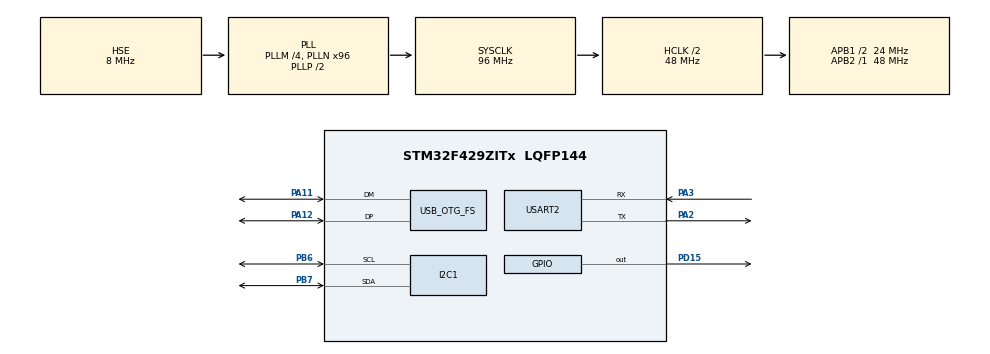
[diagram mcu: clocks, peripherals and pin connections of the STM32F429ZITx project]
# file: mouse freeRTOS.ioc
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FREERTOS.Tasks01=defaultTask,0,128,StartDefaultTask,Default,NULL,Dynamic,NULL,NULL;read_mpu6050,1,128,read_mpu,Default,NULL,Dynamic,NULL,NULL;USB_HID_mouse,1,128,mouse,Default,NULL,Dynamic,NULL,NULL
Mcu.Family=STM32F4
Mcu.Name=STM32F429ZITx
Mcu.Package=LQFP144
NVIC.OTG_FS_IRQn=true\:5\:0\:false\:false\:true\:true\:false
NVIC.PriorityGroup=NVIC_PRIORITYGROUP_4
NVIC.RCC_IRQn=true\:5\:0\:false\:false\:true\:true\:true
NVIC.TIM1_UP_TIM10_IRQn=true\:0\:0\:false\:false\:true\:false\:false
NVIC.TimeBase=TIM1_UP_TIM10_IRQn
NVIC.TimeBaseIP=TIM1
NVIC.USART2_IRQn=true\:5\:0\:false\:false\:true\:true\:true
PA11.Mode=Device_Only
PA11.Signal=USB_OTG_FS_DM
PA12.Mode=Device_Only
PA12.Signal=USB_OTG_FS_DP
PA13.Mode=Serial_Wire
PA13.Signal=SYS_JTMS-SWDIO
PA14.Mode=Serial_Wire
PA14.Signal=SYS_JTCK-SWCLK
PA2.Mode=Asynchronous
PA2.Signal=USART2_TX
PA3.Mode=Asynchronous
PA3.Signal=USART2_RX
PB6.Mode=I2C
PB6.Signal=I2C1_SCL
PB7.Mode=I2C
PB7.Signal=I2C1_SDA
PD15.Signal=GPIO_Output
PH0/OSC_IN.Mode=HSE-External-Oscillator
PH0/OSC_IN.Signal=RCC_OSC_IN
PH1/OSC_OUT.Mode=HSE-External-Oscillator
PH1/OSC_OUT.Signal=RCC_OSC_OUT
ProjectManager.HeapSize=0x200
ProjectManager.StackSize=0x400
ProjectManager.TargetToolchain=MDK-ARM V5
RCC.48MHZClocksFreq_Value=48000000
RCC.AHBCLKDivider=RCC_SYSCLK_DIV2
RCC.AHBFreq_Value=48000000
RCC.APB1CLKDivider=RCC_HCLK_DIV2
RCC.APB1Freq_Value=24000000
RCC.APB1TimFreq_Value=48000000
RCC.APB2Freq_Value=48000000
RCC.APB2TimFreq_Value=48000000
RCC.CortexFreq_Value=48000000
RCC.HCLKFreq_Value=48000000
RCC.HSE_VALUE=8000000
RCC.HSI_VALUE=16000000
RCC.LSE_VALUE=32768
RCC.PLLM=4
RCC.PLLN=96
RCC.SYSCLKFreq_VALUE=96000000
RCC.SYSCLKSource=RCC_SYSCLKSOURCE_PLLCLK
RCC.VCOOutputFreq_Value=192000000
USART2.VirtualMode=VM_ASYNC
USB_DEVICE.CLASS_NAME_FS=HID
USB_DEVICE.VirtualMode-HID_FS=Hid
USB_DEVICE.VirtualModeFS=Hid_FS
USB_OTG_FS.VirtualMode=Device_Only
VP_FREERTOS_VS_ENABLE.Mode=Enabled
VP_SYS_VS_tim1.Mode=TIM1
VP_USB_DEVICE_VS_USB_DEVICE_HID_FS.Mode=HID_FS
board=STM32F429I-DISCO

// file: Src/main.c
/**
  ******************************************************************************
  * File Name          : main.c
  * Description        : Main program body
  ******************************************************************************
  * This notice applies to any and all portions of this file
  * that are not between comment pairs USER CODE BEGIN and
  * USER CODE END. Other portions of this file, whether
  * inserted by the user or by software development tools
  * are owned by their respective copyright owners.
  *
  * Copyright (c) 2017 STMicroelectronics International N.V.
  * All rights reserved.
  *
  * Redistribution and use in source and binary forms, with or without
  * modification, are permitted, provided that the following conditions are met:
  *
  * 1. Redistribution of source code must retain the above copyright notice,
  *    this list of conditions and the following disclaimer.
  * 2. Redistributions in binary form must reproduce the above copyright notice,
  *    this list of conditions and the following disclaimer in the documentation
  *    and/or other materials provided with the distribution.
  * 3. Neither the name of STMicroelectronics nor the names of other
  *    contributors to this software may be used to endorse or promote products
  *    derived from this software without specific written permission.
  * 4. This software, including modifications and/or derivative works of this
  *    software, must execute solely and exclusively on microcontroller or
  *    microprocessor devices manufactured by or for STMicroelectronics.
  * 5. Redistribution and use of this software other than as permitted under
  *    this license is void and will automatically terminate your rights under
  *    this license.
  *
  * THIS SOFTWARE IS PROVIDED BY STMICROELECTRONICS AND CONTRIBUTORS "AS IS"
  * AND ANY EXPRESS, IMPLIED OR STATUTORY WARRANTIES, INCLUDING, BUT NOT
  * LIMITED TO, THE IMPLIED WARRANTIES OF MERCHANTABILITY, FITNESS FOR A
  * PARTICULAR PURPOSE AND NON-INFRINGEMENT OF THIRD PARTY INTELLECTUAL PROPERTY
  * RIGHTS ARE DISCLAIMED TO THE FULLEST EXTENT PERMITTED BY LAW. IN NO EVENT
  * SHALL STMICROELECTRONICS OR CONTRIBUTORS BE LIABLE FOR ANY DIRECT, INDIRECT,
  * INCIDENTAL, SPECIAL, EXEMPLARY, OR CONSEQUENTIAL DAMAGES (INCLUDING, BUT NOT
  * LIMITED TO, PROCUREMENT OF SUBSTITUTE GOODS OR SERVICES; LOSS OF USE, DATA,
  * OR PROFITS; OR BUSINESS INTERRUPTION) HOWEVER CAUSED AND ON ANY THEORY OF
  * LIABILITY, WHETHER IN CONTRACT, STRICT LIABILITY, OR TORT (INCLUDING
  * NEGLIGENCE OR OTHERWISE) ARISING IN ANY WAY OUT OF THE USE OF THIS SOFTWARE,
  * EVEN IF ADVISED OF THE POSSIBILITY OF SUCH DAMAGE.
  *
  ******************************************************************************
  */

#include <main.h>
#include "stm32f4xx_hal.h"
#include "cmsis_os.h"
#include "usb_device.h"

/* USER CODE BEGIN Includes */
#include <math.h>
#include <usbd_hid.h>
extern USBD_HandleTypeDef hUsbDeviceFS;

/* USER CODE END Includes */

I2C_HandleTypeDef hi2c1;

UART_HandleTypeDef huart2;

osThreadId defaultTaskHandle;
osThreadId read_mpu6050Handle;
osThreadId USB_HID_mouseHandle;

/* USER CODE BEGIN PV */
/* Private variables ---------------------------------------------------------*/
int gyro_x, gyro_y, gyro_z;
int16_t acc_x, acc_y, acc_z, acc_total_vector;
long acc_x_cal, acc_y_cal, acc_z_cal;
int16_t acc_x_output = 0, acc_y_output = 0, acc_z_output = 0, gyro_x_output = 0, gyro_y_output = 0, gyro_z_output = 0;
int temperature;
int gyro_x_cal, gyro_y_cal, gyro_z_cal;

int cal_int = 0;

uint8_t button[4];   		                                   	// for usb hid mouse //

xQueueHandle queue_handle = NULL;

void set_MPU6050_registers(void);
/* USER CODE END PV */

void SystemClock_Config(void);
static void MX_GPIO_Init(void);
static void MX_I2C1_Init(void);
static void MX_USART2_UART_Init(void);
void StartDefaultTask(void const * argument);
void read_mpu(void const * argument);
void mouse(void const * argument);

/* USER CODE BEGIN PFP */
/* Private function prototypes -----------------------------------------------*/

/* USER CODE END PFP */

int main(void)
{

  /* MCU Configuration----------------------------------------------------------*/

  /* Reset of all peripherals, Initializes the Flash interface and the Systick. */
  HAL_Init();

  /* Configure the system clock */
  SystemClock_Config();

  /* Initialize all configured peripherals */
  MX_GPIO_Init();
  MX_I2C1_Init();
  MX_USART2_UART_Init();

  /* USER CODE BEGIN 2 */
  //mouse parameters initialization//
  button[0] = 0;				// mouse button //
	button[1] = 0;				// mouse x 	//
	button[2] = 0;				// mouse y //
  button[3] = 0;				// mouse wheel //

  set_MPU6050_registers();

  /* USER CODE END 2 */

	/********QUEUE********/
	queue_handle = xQueueCreate(2, sizeof(int16_t));                     // create a queue //
  /* Create the thread(s) */
  /* definition and creation of defaultTask */
  osThreadDef(defaultTask, StartDefaultTask, osPriorityNormal, 0, 128);
  defaultTaskHandle = osThreadCreate(osThread(defaultTask), NULL);

  /* definition and creation of read_mpu6050 */
  osThreadDef(read_mpu6050, read_mpu, osPriorityNormal, 0, 1024);
  read_mpu6050Handle = osThreadCreate(osThread(read_mpu6050), NULL);

  /* definition and creation of USB_HID_mouse */
  osThreadDef(USB_HID_mouse, mouse, osPriorityAboveNormal, 0, 1024);
  USB_HID_mouseHandle = osThreadCreate(osThread(USB_HID_mouse), NULL);

  /* Start scheduler */
  osKernelStart();

  /* We should never get here as control is now taken by the scheduler */

  /* Infinite loop */
  while (1)
  {

  }

}

/** System Clock Configuration
*/
void SystemClock_Config(void)
{

  RCC_OscInitTypeDef RCC_OscInitStruct;
  RCC_ClkInitTypeDef RCC_ClkInitStruct;

    /**Configure the main internal regulator output voltage
    */
  __HAL_RCC_PWR_CLK_ENABLE();

  __HAL_PWR_VOLTAGESCALING_CONFIG(PWR_REGULATOR_VOLTAGE_SCALE3);

    /**Initializes the CPU, AHB and APB busses clocks
    */
  RCC_OscInitStruct.OscillatorType = RCC_OSCILLATORTYPE_HSE;
  RCC_OscInitStruct.HSEState = RCC_HSE_ON;
  RCC_OscInitStruct.PLL.PLLState = RCC_PLL_ON;
  RCC_OscInitStruct.PLL.PLLSource = RCC_PLLSOURCE_HSE;
  RCC_OscInitStruct.PLL.PLLM = 4;
  RCC_OscInitStruct.PLL.PLLN = 96;
  RCC_OscInitStruct.PLL.PLLP = RCC_PLLP_DIV2;
  RCC_OscInitStruct.PLL.PLLQ = 4;
  if (HAL_RCC_OscConfig(&RCC_OscInitStruct) != HAL_OK)
  {
    _Error_Handler(__FILE__, __LINE__);
  }

    /**Initializes the CPU, AHB and APB busses clocks
    */
  RCC_ClkInitStruct.ClockType = RCC_CLOCKTYPE_HCLK|RCC_CLOCKTYPE_SYSCLK
                              |RCC_CLOCKTYPE_PCLK1|RCC_CLOCKTYPE_PCLK2;
  RCC_ClkInitStruct.SYSCLKSource = RCC_SYSCLKSOURCE_PLLCLK;
  RCC_ClkInitStruct.AHBCLKDivider = RCC_SYSCLK_DIV2;
  RCC_ClkInitStruct.APB1CLKDivider = RCC_HCLK_DIV2;
  RCC_ClkInitStruct.APB2CLKDivider = RCC_HCLK_DIV1;

  if (HAL_RCC_ClockConfig(&RCC_ClkInitStruct, FLASH_LATENCY_1) != HAL_OK)
  {
    _Error_Handler(__FILE__, __LINE__);
  }

    /**Configure the Systick interrupt time
    */
  HAL_SYSTICK_Config(HAL_RCC_GetHCLKFreq()/1000);

    /**Configure the Systick
    */
  HAL_SYSTICK_CLKSourceConfig(SYSTICK_CLKSOURCE_HCLK);

  /* SysTick_IRQn interrupt configuration */
  HAL_NVIC_SetPriority(SysTick_IRQn, 15, 0);
}

/* I2C1 init function */
static void MX_I2C1_Init(void)
{

  hi2c1.Instance = I2C1;
  hi2c1.Init.ClockSpeed = 400000;
  hi2c1.Init.DutyCycle = I2C_DUTYCYCLE_2;
  hi2c1.Init.OwnAddress1 = 0;
  hi2c1.Init.AddressingMode = I2C_ADDRESSINGMODE_7BIT;
  hi2c1.Init.DualAddressMode = I2C_DUALADDRESS_DISABLE;
  hi2c1.Init.OwnAddress2 = 0;
  hi2c1.Init.GeneralCallMode = I2C_GENERALCALL_DISABLE;
  hi2c1.Init.NoStretchMode = I2C_NOSTRETCH_DISABLE;
  if (HAL_I2C_Init(&hi2c1) != HAL_OK)
  {
    _Error_Handler(__FILE__, __LINE__);
  }

}

/* USART2 init function */
static void MX_USART2_UART_Init(void)
{

  huart2.Instance = USART2;
  huart2.Init.BaudRate = 9600;
  huart2.Init.WordLength = UART_WORDLENGTH_8B;
  huart2.Init.StopBits = UART_STOPBITS_1;
  huart2.Init.Parity = UART_PARITY_NONE;
  huart2.Init.Mode = UART_MODE_TX_RX;
  huart2.Init.HwFlowCtl = UART_HWCONTROL_NONE;
  huart2.Init.OverSampling = UART_OVERSAMPLING_16;
  if (HAL_UART_Init(&huart2) != HAL_OK)
  {
    _Error_Handler(__FILE__, __LINE__);
  }

}

/** Configure pins as
        * Analog
        * Input
        * Output
        * EVENT_OUT
        * EXTI
*/
static void MX_GPIO_Init(void)
{

  GPIO_InitTypeDef GPIO_InitStruct;

  /* GPIO Ports Clock Enable */
  __HAL_RCC_GPIOH_CLK_ENABLE();
  __HAL_RCC_GPIOA_CLK_ENABLE();
  __HAL_RCC_GPIOD_CLK_ENABLE();
  __HAL_RCC_GPIOB_CLK_ENABLE();

  /*Configure GPIO pin Output Level */
  HAL_GPIO_WritePin(GPIOD, GPIO_PIN_15, GPIO_PIN_RESET);

  /*Configure GPIO pin : PD15 */
  GPIO_InitStruct.Pin = GPIO_PIN_15;
  GPIO_InitStruct.Mode = GPIO_MODE_OUTPUT_PP;
  GPIO_InitStruct.Pull = GPIO_NOPULL;
  GPIO_InitStruct.Speed = GPIO_SPEED_FREQ_LOW;
  HAL_GPIO_Init(GPIOD, &GPIO_InitStruct);

}

/* USER CODE BEGIN 4 */
void set_MPU6050_registers()
{
	unsigned char tempBuffer1[2];
	unsigned char tempBuffer2[2];
	unsigned char tempBuffer3[2];
	tempBuffer1[0]=0x6B;	//Activate the MPU-6050
	tempBuffer1[1]=0x00;

	tempBuffer2[0]=0x1C;	//Configure the accelerometer (+/-8g)
	tempBuffer2[1]=0x10;

	tempBuffer3[0]=0x1B;	//Configure the gyro (500dps full scale)
	tempBuffer3[1]=0x08;

	HAL_I2C_Master_Transmit(&hi2c1,0x68<<1, tempBuffer1, 2, 100);
  HAL_Delay(20);
	HAL_I2C_Master_Transmit(&hi2c1,0x68<<1, tempBuffer2, 2, 100);
	HAL_Delay(20);
	HAL_I2C_Master_Transmit(&hi2c1,0x68<<1, tempBuffer3, 2, 100);
	HAL_Delay(20);
}

/* USER CODE END 4 */

/* StartDefaultTask function */
void StartDefaultTask(void const * argument)
{
  /* init code for USB_DEVICE */
  MX_USB_DEVICE_Init();

  for(;;)
  {
    osDelay(1);
  }
}

/* read_mpu function */
void read_mpu(void const * argument)
{
  /* USER CODE BEGIN read_mpu */

	/* Infinite loop */
  for(;;)
  {
	 uint8_t tempBuffer[14];

	 tempBuffer[0] = 0x3B;
	 HAL_I2C_Master_Transmit(&hi2c1,0x68<<1, tempBuffer, 1, 100);				 //Request the data

   HAL_I2C_Master_Receive(&hi2c1,0x68<<1, tempBuffer, 14, 100);				 //Request 14 bytes from the MPU-6050
	 while( HAL_I2C_GetState(&hi2c1) == HAL_I2C_STATE_BUSY_RX);          //Wait until all the bytes are received

   acc_x = tempBuffer[0]<<8|tempBuffer[1];                             //Add the low and high byte to the acc_x variable
   acc_y = tempBuffer[2]<<8|tempBuffer[3];                             //Add the low and high byte to the acc_y variable
   acc_z = tempBuffer[4]<<8|tempBuffer[5];                             //Add the low and high byte to the acc_z variable
   temperature = tempBuffer[6]<<8|tempBuffer[7];                       //Add the low and high byte to the temperature variable
   gyro_x = tempBuffer[8]<<8|tempBuffer[9];                            //Add the low and high byte to the gyro_x variable
   gyro_y = tempBuffer[10]<<8|tempBuffer[11];                          //Add the low and high byte to the gyro_y variable
   gyro_z = tempBuffer[12]<<8|tempBuffer[13];                          //Add the low and high byte to the gyro_z variable

	 while(cal_int != 500){                                              //Run this code 500 times
    gyro_x_cal += gyro_x;                                              //Add the gyro x-axis offset to the gyro_x_cal variable
    gyro_y_cal += gyro_y;                                              //Add the gyro y-axis offset to the gyro_y_cal variable
    gyro_z_cal += gyro_z;                                              //Add the gyro z-axis offset to the gyro_z_cal variable
    acc_x_cal += acc_x;                                                //Add the acc x-axis offset to the acc_x_cal variable
 		acc_y_cal += acc_y;                                                //Add the acc y-axis offset to the acc_y_cal variable
		acc_z_cal += acc_z;                                                //Add the acc z-axis offset to the acc_z_cal variable

		HAL_Delay(10);                                                     //Delay 10us to simulate the 250Hz program loop
    cal_int++;
	 }
	 if(cal_int == 500)
	 {
   gyro_x_cal /= 500;                                                  //Divide the gyro_x_cal variable by 2000 to get the avarage offset
   gyro_y_cal /= 500;                                                  //Divide the gyro_y_cal variable by 2000 to get the avarage offset
   gyro_z_cal /= 500;                                                  //Divide the gyro_z_cal variable by 2000 to get the avarage offset
	 acc_x_cal /= 500;
	 acc_y_cal /= 500;
	 acc_z_cal /= 500;
	 }

	gyro_x -= gyro_x_cal;                                                //Subtract the offset calibration value from the raw gyro_x value
  gyro_y -= gyro_y_cal;                                                //Subtract the offset calibration value from the raw gyro_y value
  gyro_z -= gyro_z_cal;                                                //Subtract the offset calibration value from the raw gyro_z value

	acc_x -= acc_x_cal;
	acc_y -= acc_y_cal;
	acc_z -= acc_z_cal;

	acc_x_output = 0.3 * acc_x + 0.7 * acc_x_output;
	acc_y_output = 0.3 * acc_y + 0.7 * acc_y_output;
	acc_z_output = 0.3 * acc_z + 0.7 * acc_z_output;

	gyro_x_output = 0.3 * gyro_x + 0.7 * gyro_x_output;
	gyro_y_output = 0.3 * gyro_y + 0.7 * gyro_y_output;
	gyro_z_output = 0.3 * gyro_z + 0.7 * gyro_z_output;

	xQueueSend(queue_handle, &gyro_y_output, 10);
	xQueueSend(queue_handle, &gyro_z_output, 10);

	vTaskDelay(10);

  }
  /* USER CODE END read_mpu */
}

/* mouse function */
void mouse(void const * argument)
{
  /* USER CODE BEGIN mouse */
  /* Infinite loop */
  for(;;)
  {
		xQueueReceive(queue_handle, &gyro_y_output, 10);
		xQueueReceive(queue_handle, &gyro_z_output, 10);
	//usb mouse//
	//left//
	if(acc_y_output > 250 )
	{
   button[0] = 0;				// mouse button //
 	 button[1] = -10;			// mouse x 	//
   button[2] = 0;				// mouse y //
   button[3] = 0;				// mouse wheel //

		USBD_HID_SendReport(&hUsbDeviceFS, button, 4);
		vTaskDelay(10);
	}

	//right//
	else if(acc_y_output < -200)
	{
   button[0] = 0;				// mouse button //
 	 button[1] = 10;			// mouse x 	//
   button[2] = 0;				// mouse y //
   button[3] = 0;				// mouse wheel //

		USBD_HID_SendReport(&hUsbDeviceFS, button, 4);
		vTaskDelay(10);
	}

	//up//
	else if(acc_z_output > 400)
	{
	 HAL_Delay(20);
   button[0] = 0;				// mouse button //
 	 button[1] = 0;				// mouse x 	//
   button[2] = -10;			// mouse y //
   button[3] = 0;				// mouse wheel //

	 USBD_HID_SendReport(&hUsbDeviceFS, button, 4);
	 vTaskDelay(10);
	}

		//down//
	else if(acc_z_output < -400 )
	{
   button[0] = 0;				// mouse button //
 	 button[1] = 0;				// mouse x 	//
   button[2] = 10;			// mouse y //
   button[3] = 0;				// mouse wheel //

		USBD_HID_SendReport(&hUsbDeviceFS, button, 4);
		vTaskDelay(10);
	}
		//stop//
	else if(acc_x_output < 200 && acc_x_output > -200 && acc_y_output < 200 && acc_y_output > -200)
	{
   button[0] = 0;				// mouse button //
 	 button[1] = 0;				// mouse x 	//
   button[2] = 0;				// mouse y //
   button[3] = 0;				// mouse wheel //

		USBD_HID_SendReport(&hUsbDeviceFS, button, 4);
		vTaskDelay(10);
	}

  }
  /* USER CODE END mouse */
}

void HAL_TIM_PeriodElapsedCallback(TIM_HandleTypeDef *htim)
{
  if (htim->Instance == TIM1) {
    HAL_IncTick();
  }
}

void _Error_Handler(char * file, int line)
{
  while(1)
  {
  }
}

/************************ (C) COPYRIGHT STMicroelectronics *****END OF FILE****/
